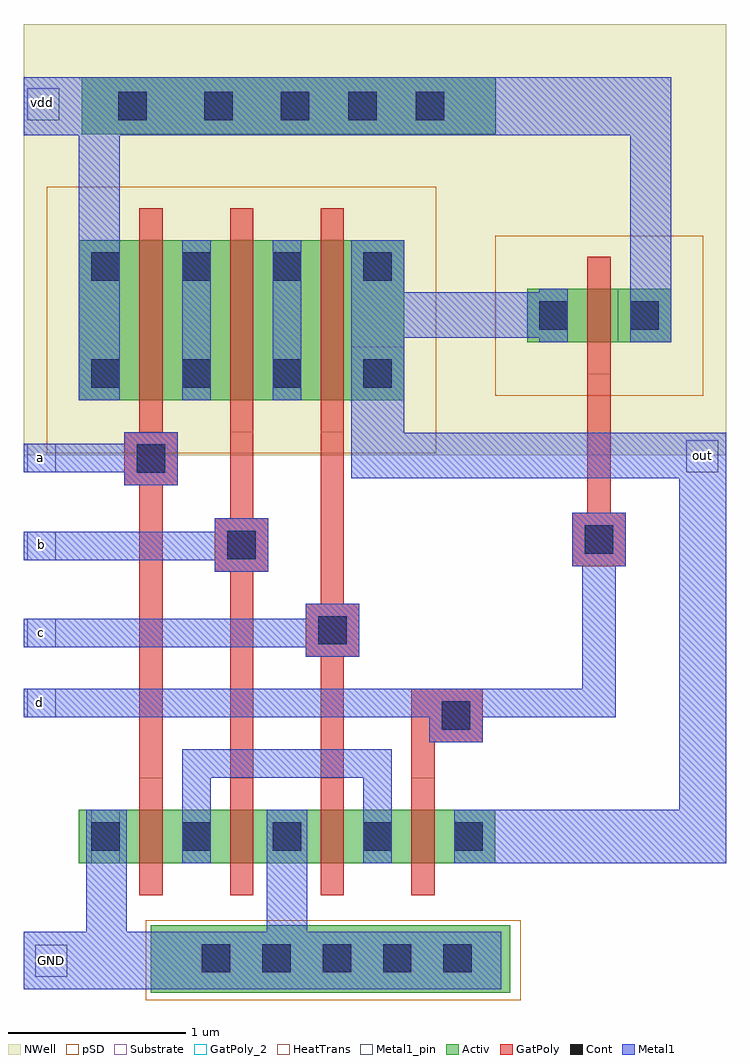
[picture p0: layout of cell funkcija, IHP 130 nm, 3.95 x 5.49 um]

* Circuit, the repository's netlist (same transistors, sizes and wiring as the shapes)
** sch_path: /home/Nikola.Jankovic/projekat_copy/slucaj_2/schematic/funkcija.sch
.subckt funkcija vdd out d a c b ground
*.PININFO a:I b:I c:I d:I vdd:B ground:B out:O
M1 net1 a ground ground sg13_lv_nmos w=0.3u l=0.13u ng=1 m=1
M2 net1 b ground ground sg13_lv_nmos w=0.3u l=0.13u ng=1 m=1
M3 net1 c ground ground sg13_lv_nmos w=0.3u l=0.13u ng=1 m=1
M4 out d net1 ground sg13_lv_nmos w=0.3u l=0.13u ng=1 m=1
M5 net2 a vdd vdd sg13_lv_pmos w=0.9u l=0.13u ng=1 m=1
M6 net3 b net2 vdd sg13_lv_pmos w=0.9u l=0.13u ng=1 m=1
M7 out c net3 vdd sg13_lv_pmos w=0.9u l=0.13u ng=1 m=1
M8 out d vdd vdd sg13_lv_pmos w=0.3u l=0.13u ng=1 m=1
.ends
.end

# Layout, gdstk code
import gdstk
lib = gdstk.Library(unit=1e-6, precision=1e-09)
def R(c, l, rs):  # rectangles x0, y0, x1, y1
    for r in rs: c.add(gdstk.rectangle(r[:2], r[2:], *l))
def A(c, l, x, y, w, h, nx, ny, dx, dy):  # array of equal rectangles
    R(c, l, [(x+i*dx, y+j*dy, x+i*dx+w, y+j*dy+h) for i in range(nx) for j in range(ny)])
Activ = (1, 0)
GatPoly = (5, 0)
GatPoly_2 = (5, 2)
Cont = (6, 0)
Metal1 = (8, 0)
Metal1_pin = (8, 2)
pSD = (14, 0)
NWell = (31, 0)
Substrate = (40, 0)
HeatTrans = (51, 0)

pmos_1 = lib.new_cell('pmos$1')
A(pmos_1, Activ, 0, 0, 0.3, 0.3, 4, 1, 0.51, 0)
R(pmos_1, Activ, [(0,0,1.83,0.9)])
A(pmos_1, GatPoly, 0.34, -0.18, 0.13, 1.26, 3, 1, 0.51, 0)
R(pmos_1, GatPoly, [(0.34,-0.18,0.47,1.08)])
A(pmos_1, Cont, 0.07, 0.07, 0.16, 0.16, 4, 2, 0.51, 0.6)
A(pmos_1, Metal1, 0.58, 0, 0.16, 0.9, 3, 1, 0.51, 0)
R(pmos_1, Metal1, [(0.07,0,0.23,0.9), (0.07,0,0.23,0.9), (0.58,0,0.74,0.9)])
R(pmos_1, pSD, [(-0.18,-0.3,2.01,1.2)])
R(pmos_1, NWell, [(-0.31,-0.31,2.14,1.21)])
R(pmos_1, Substrate, [(1.53,0,1.83,0.3)])
A(pmos_1, HeatTrans, 0.34, -0.18, 0.13, 1.26, 3, 1, 0.51, 0)
pmos_1.add(gdstk.Label('pmos', (0.405,0.45), layer=63, texttype=0))
pmos_1.add(gdstk.Label('pmos', (0.405,0.45), layer=51, texttype=0))
pmos_1.add(gdstk.Label('pmos', (0.915,0.45), layer=51, texttype=0))
pmos_1.add(gdstk.Label('pmos', (1.425,0.45), layer=51, texttype=0))

pmos_2 = lib.new_cell('pmos$2')
R(pmos_2, Activ, [(0,0,0.3,0.3), (0,0,0.81,0.3), (0.51,0,0.81,0.3)])
R(pmos_2, GatPoly, [(0.34,-0.18,0.47,0.48), (0.34,-0.18,0.47,0.48)])
R(pmos_2, Cont, [(0.07,0.07,0.23,0.23), (0.58,0.07,0.74,0.23)])
R(pmos_2, Metal1, [(0.07,0,0.23,0.3), (0.07,0,0.23,0.3), (0.58,0,0.74,0.3), (0.58,0,0.74,0.3)])
R(pmos_2, pSD, [(-0.18,-0.3,0.99,0.6)])
R(pmos_2, NWell, [(-0.31,-0.31,1.12,0.61)])
R(pmos_2, Substrate, [(0.51,0,0.81,0.3)])
R(pmos_2, HeatTrans, [(0.34,-0.18,0.47,0.48)])
pmos_2.add(gdstk.Label('pmos', (0.405,0.15), layer=63, texttype=0))
pmos_2.add(gdstk.Label('pmos', (0.405,0.15), layer=51, texttype=0))

nmos_1 = lib.new_cell('nmos$1')
A(nmos_1, Activ, 0, 0, 0.3, 0.3, 5, 1, 0.51, 0)
R(nmos_1, Activ, [(0,0,2.34,0.3)])
A(nmos_1, GatPoly, 0.34, -0.18, 0.13, 0.66, 4, 1, 0.51, 0)
R(nmos_1, GatPoly_2, [(0.34,-0.18,0.47,0.48)])
A(nmos_1, Cont, 0.07, 0.07, 0.16, 0.16, 5, 1, 0.51, 0)
A(nmos_1, Metal1, 0.07, 0, 0.16, 0.3, 5, 1, 0.51, 0)
R(nmos_1, Metal1_pin, [(0.07,0,0.23,0.3), (0.58,0,0.74,0.3)])
A(nmos_1, HeatTrans, 0.34, -0.18, 0.13, 0.66, 4, 1, 0.51, 0)
nmos_1.add(gdstk.Label('nmos', (0.405,0.15), layer=63, texttype=0))
nmos_1.add(gdstk.Label('nmos', (0.405,0.15), layer=51, texttype=0))
nmos_1.add(gdstk.Label('nmos', (0.915,0.15), layer=51, texttype=0))
nmos_1.add(gdstk.Label('nmos', (1.425,0.15), layer=51, texttype=0))
nmos_1.add(gdstk.Label('nmos', (1.935,0.15), layer=51, texttype=0))

funkcija = lib.new_cell('funkcija')
R(funkcija, Activ, [(0.405,-3.335,2.425,-2.955), (0.015,1.495,2.345,1.815)])
R(funkcija, GatPoly, [(0.34,-2.125,0.47,-0.18), (0.85,-2.125,0.98,-0.175), (1.36,-2.125,1.49,-0.18), (1.87,-2.125,2,-1.625), (1.97,-1.925,2.27,-1.625), (1.275,-1.445,1.575,-1.145), (0.765,-0.965,1.065,-0.665), (2.775,-0.935,3.075,-0.635), (2.86,-0.635,2.99,0.145), (0.255,-0.48,0.555,-0.18)])
A(funkcija, Cont, 0.69, -3.22, 0.16, 0.16, 5, 1, 0.34, 0)
A(funkcija, Cont, 1.135, 1.575, 0.16, 0.16, 3, 1, 0.38, 0)
R(funkcija, Cont, [(2.05,-3.22,2.21,-3.06), (2.04,-1.855,2.2,-1.695), (1.345,-1.375,1.505,-1.215), (0.835,-0.895,0.995,-0.735), (2.845,-0.865,3.005,-0.705), (0.325,-0.41,0.485,-0.25), (0.22,1.575,0.38,1.735), (0.705,1.575,0.865,1.735)])
R(funkcija, Metal1, [(-0.31,-3.315,2.375,-2.99), (-0.31,-3.315,2.375,-2.99), (0.04,-2.99,0.27,-2.305), (1.055,-2.99,1.285,-2.305), (2.11,-2.605,3.64,-2.305), (0.58,-2.305,0.74,-1.965), (1.6,-2.305,1.76,-2.125), (3.375,-2.305,3.64,-0.44), (0.74,-2.125,1.76,-1.965), (1.97,-1.925,2.27,-1.625), (-0.31,-1.785,1.97,-1.625), (2.27,-1.785,3.02,-1.625), (2.83,-1.625,3.02,-0.935), (1.275,-1.445,1.575,-1.145), (-0.31,-1.39,1.275,-1.23), (0.765,-0.965,1.065,-0.665), (2.775,-0.935,3.075,-0.635), (-0.31,-0.9,0.765,-0.74), (0.255,-0.48,0.555,-0.18), (1.53,-0.44,1.83,0.9), (1.83,-0.44,3.64,-0.185), (-0.31,-0.405,0.255,-0.245), (0,0,0.23,1.49), (3.1,0.325,3.33,1.815), (1.83,0.35,2.59,0.605), (-0.31,1.49,3.1,1.815)])
R(funkcija, Metal1_pin, [(-0.245,-3.245,-0.065,-3.065), (-0.29,-1.785,-0.13,-1.625), (-0.29,-1.39,-0.13,-1.23), (-0.29,-0.9,-0.13,-0.74), (-0.29,-0.405,-0.13,-0.245), (3.415,-0.405,3.595,-0.225), (-0.29,1.575,-0.11,1.755)])
R(funkcija, pSD, [(0.375,-3.375,2.485,-2.925)])
R(funkcija, NWell, [(2.14,-0.31,3.64,0.015), (2.14,0.015,2.21,0.935), (2.14,0.935,2.65,1.21), (2.65,0.935,3.64,2.115), (-0.31,1.21,2.65,2.115)])
funkcija.add(gdstk.Reference(pmos_1, (0,0)))
funkcija.add(gdstk.Reference(pmos_2, (2.52,0.325)))
funkcija.add(gdstk.Reference(nmos_1, (0,-2.605)))
funkcija.add(gdstk.Label('GND', (-0.155,-3.155), layer=8, texttype=2))
funkcija.add(gdstk.Label('d', (-0.22,-1.7), layer=8, texttype=2))
funkcija.add(gdstk.Label('c', (-0.21,-1.31), layer=8, texttype=2))
funkcija.add(gdstk.Label('b', (-0.21,-0.815), layer=8, texttype=2))
funkcija.add(gdstk.Label('a', (-0.215,-0.325), layer=8, texttype=2))
funkcija.add(gdstk.Label('vdd', (-0.205,1.675), layer=8, texttype=2))
funkcija.add(gdstk.Label('out', (3.505,-0.31), layer=8, texttype=2))

lib.write_gds('funkcija.gds')
